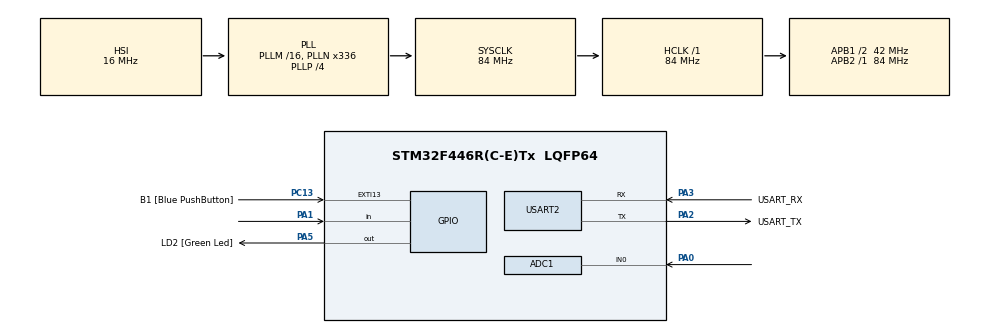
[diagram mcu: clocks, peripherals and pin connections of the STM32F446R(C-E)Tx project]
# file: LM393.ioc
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ADC1.Channel-0\#ChannelRegularConversion=ADC_CHANNEL_0
ADC1.NbrOfConversionFlag=1
ADC1.Rank-0\#ChannelRegularConversion=1
ADC1.SamplingTime-0\#ChannelRegularConversion=ADC_SAMPLETIME_3CYCLES
ADC1.master=1
Mcu.Family=STM32F4
Mcu.Name=STM32F446R(C-E)Tx
Mcu.Package=LQFP64
NVIC.PriorityGroup=NVIC_PRIORITYGROUP_0
PA0-WKUP.Signal=ADCx_IN0
PA1.Signal=GPIO_Input
PA13.GPIO_Label=TMS
PA13.Mode=Serial_Wire
PA13.Signal=SYS_JTMS-SWDIO
PA14.GPIO_Label=TCK
PA14.Mode=Serial_Wire
PA14.Signal=SYS_JTCK-SWCLK
PA2.GPIO_Label=USART_TX
PA2.Mode=Asynchronous
PA2.Signal=USART2_TX
PA3.GPIO_Label=USART_RX
PA3.Mode=Asynchronous
PA3.Signal=USART2_RX
PA5.GPIO_Label=LD2 [Green Led]
PA5.Signal=GPIO_Output
PB3.GPIO_Label=SWO
PB3.Signal=SYS_JTDO-SWO
PC13.GPIO_Label=B1 [Blue PushButton]
PC13.GPIO_ModeDefaultEXTI=GPIO_MODE_IT_FALLING
PC13.Signal=GPXTI13
PC14-OSC32_IN.Mode=LSE-External-Oscillator
PC14-OSC32_IN.Signal=RCC_OSC32_IN
PC15-OSC32_OUT.Mode=LSE-External-Oscillator
PC15-OSC32_OUT.Signal=RCC_OSC32_OUT
PH0-OSC_IN.Mode=HSE-External-Oscillator
PH0-OSC_IN.Signal=RCC_OSC_IN
PH1-OSC_OUT.Mode=HSE-External-Oscillator
PH1-OSC_OUT.Signal=RCC_OSC_OUT
ProjectManager.HeapSize=0x200
ProjectManager.StackSize=0x400
ProjectManager.TargetToolchain=STM32CubeIDE
RCC.48MHZClocksFreq_Value=84000000
RCC.AHBFreq_Value=84000000
RCC.APB1CLKDivider=RCC_HCLK_DIV2
RCC.APB1Freq_Value=42000000
RCC.APB1TimFreq_Value=84000000
RCC.APB2Freq_Value=84000000
RCC.APB2TimFreq_Value=84000000
RCC.CortexFreq_Value=84000000
RCC.FLatency-AdvancedSettings=FLASH_LATENCY_2
RCC.HCLKFreq_Value=84000000
RCC.HSE_VALUE=8000000
RCC.HSI_VALUE=16000000
RCC.PLLN=336
RCC.PLLP=RCC_PLLP_DIV4
RCC.SYSCLKFreq_VALUE=84000000
RCC.SYSCLKSource=RCC_SYSCLKSOURCE_PLLCLK
RCC.USBFreq_Value=168000000
RCC.VCOOutputFreq_Value=336000000
SH.ADCx_IN0.0=ADC1_IN0,IN0
USART2.VirtualMode=VM_ASYNC
board=NUCLEO-F446RE

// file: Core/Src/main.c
/* USER CODE BEGIN Header */
/**
| LM393 Pin | STM32 Pin        | Function                           |
| --------- | ---------------- | ---------------------------------- |
| VCC       | 5V / 3.3V        | Power                              |
| GND       | GND              | Ground                             |
| AO        | PA0 (ADC1\_IN0)  | Analog voltage from sensor         |
| DO        | PA1 (GPIO input) | Digital HIGH/LOW comparator output |

  ******************************************************************************
  * @file           : main.c
  * @brief          : Main program body
  ******************************************************************************
  * @attention
  *
  * Copyright (c) 2025 STMicroelectronics.
  * All rights reserved.
  *
  * This software is licensed under terms that can be found in the LICENSE file
  * in the root directory of this software component.
  * If no LICENSE file comes with this software, it is provided AS-IS.
  *
  ******************************************************************************
  */
/* USER CODE END Header */
#include "main.h"

/* USER CODE BEGIN Includes */
#include <stdio.h>
/* USER CODE END Includes */

/* USER CODE BEGIN PM */
uint32_t adc_value = 0;
/* USER CODE END PM */

ADC_HandleTypeDef hadc1;

UART_HandleTypeDef huart2;

void SystemClock_Config(void);
static void MX_GPIO_Init(void);
static void MX_USART2_UART_Init(void);
static void MX_ADC1_Init(void);

int main(void)
{

  /* MCU Configuration--------------------------------------------------------*/

  /* Reset of all peripherals, Initializes the Flash interface and the Systick. */
  HAL_Init();

  /* Configure the system clock */
  SystemClock_Config();

  /* Initialize all configured peripherals */
  MX_GPIO_Init();
  MX_USART2_UART_Init();
  MX_ADC1_Init();
  /* USER CODE BEGIN 2 */
  printf("LM393 Sensor System Started\r\n");
  /* USER CODE END 2 */

  /* Infinite loop */
  /* USER CODE BEGIN WHILE */
  while (1)
  {
	  /* ---- Digital DO pin check ---- */
	      GPIO_PinState do_state = HAL_GPIO_ReadPin(GPIOA, GPIO_PIN_1);
	      if (do_state == GPIO_PIN_RESET) {
	          printf("DO: Signal Detected!\r\n");
	      } else {
	          printf("DO: No Signal\r\n");
	      }

	      /* ---- Analog AO read ---- */
	      HAL_ADC_Start(&hadc1);
	      if (HAL_ADC_PollForConversion(&hadc1, HAL_MAX_DELAY) == HAL_OK) {
	          adc_value = HAL_ADC_GetValue(&hadc1);

	          if (adc_value < 1000) {
	              printf("AO: Very Low Signal (ADC=%lu)\r\n", adc_value);
	          } else if (adc_value < 3000) {
	              printf("AO: Medium Signal (ADC=%lu)\r\n", adc_value);
	          } else {
	              printf("AO: Strong Signal (ADC=%lu)\r\n", adc_value);
	          }
	      }
	      HAL_ADC_Stop(&hadc1);

	      HAL_Delay(1000);
    /* USER CODE END WHILE */

  }
}

void SystemClock_Config(void)
{
  RCC_OscInitTypeDef RCC_OscInitStruct = {0};
  RCC_ClkInitTypeDef RCC_ClkInitStruct = {0};

  /** Configure the main internal regulator output voltage
  */
  __HAL_RCC_PWR_CLK_ENABLE();
  __HAL_PWR_VOLTAGESCALING_CONFIG(PWR_REGULATOR_VOLTAGE_SCALE3);

  /** Initializes the RCC Oscillators according to the specified parameters
  * in the RCC_OscInitTypeDef structure.
  */
  RCC_OscInitStruct.OscillatorType = RCC_OSCILLATORTYPE_HSI;
  RCC_OscInitStruct.HSIState = RCC_HSI_ON;
  RCC_OscInitStruct.HSICalibrationValue = RCC_HSICALIBRATION_DEFAULT;
  RCC_OscInitStruct.PLL.PLLState = RCC_PLL_ON;
  RCC_OscInitStruct.PLL.PLLSource = RCC_PLLSOURCE_HSI;
  RCC_OscInitStruct.PLL.PLLM = 16;
  RCC_OscInitStruct.PLL.PLLN = 336;
  RCC_OscInitStruct.PLL.PLLP = RCC_PLLP_DIV4;
  RCC_OscInitStruct.PLL.PLLQ = 2;
  RCC_OscInitStruct.PLL.PLLR = 2;
  if (HAL_RCC_OscConfig(&RCC_OscInitStruct) != HAL_OK)
  {
    Error_Handler();
  }

  /** Initializes the CPU, AHB and APB buses clocks
  */
  RCC_ClkInitStruct.ClockType = RCC_CLOCKTYPE_HCLK|RCC_CLOCKTYPE_SYSCLK
                              |RCC_CLOCKTYPE_PCLK1|RCC_CLOCKTYPE_PCLK2;
  RCC_ClkInitStruct.SYSCLKSource = RCC_SYSCLKSOURCE_PLLCLK;
  RCC_ClkInitStruct.AHBCLKDivider = RCC_SYSCLK_DIV1;
  RCC_ClkInitStruct.APB1CLKDivider = RCC_HCLK_DIV2;
  RCC_ClkInitStruct.APB2CLKDivider = RCC_HCLK_DIV1;

  if (HAL_RCC_ClockConfig(&RCC_ClkInitStruct, FLASH_LATENCY_2) != HAL_OK)
  {
    Error_Handler();
  }
}

static void MX_ADC1_Init(void)
{

  ADC_ChannelConfTypeDef sConfig = {0};

  /** Configure the global features of the ADC (Clock, Resolution, Data Alignment and number of conversion)
  */
  hadc1.Instance = ADC1;
  hadc1.Init.ClockPrescaler = ADC_CLOCK_SYNC_PCLK_DIV4;
  hadc1.Init.Resolution = ADC_RESOLUTION_12B;
  hadc1.Init.ScanConvMode = DISABLE;
  hadc1.Init.ContinuousConvMode = DISABLE;
  hadc1.Init.DiscontinuousConvMode = DISABLE;
  hadc1.Init.ExternalTrigConvEdge = ADC_EXTERNALTRIGCONVEDGE_NONE;
  hadc1.Init.ExternalTrigConv = ADC_SOFTWARE_START;
  hadc1.Init.DataAlign = ADC_DATAALIGN_RIGHT;
  hadc1.Init.NbrOfConversion = 1;
  hadc1.Init.DMAContinuousRequests = DISABLE;
  hadc1.Init.EOCSelection = ADC_EOC_SINGLE_CONV;
  if (HAL_ADC_Init(&hadc1) != HAL_OK)
  {
    Error_Handler();
  }

  /** Configure for the selected ADC regular channel its corresponding rank in the sequencer and its sample time.
  */
  sConfig.Channel = ADC_CHANNEL_0;
  sConfig.Rank = 1;
  sConfig.SamplingTime = ADC_SAMPLETIME_3CYCLES;
  if (HAL_ADC_ConfigChannel(&hadc1, &sConfig) != HAL_OK)
  {
    Error_Handler();
  }

}

static void MX_USART2_UART_Init(void)
{

  huart2.Instance = USART2;
  huart2.Init.BaudRate = 115200;
  huart2.Init.WordLength = UART_WORDLENGTH_8B;
  huart2.Init.StopBits = UART_STOPBITS_1;
  huart2.Init.Parity = UART_PARITY_NONE;
  huart2.Init.Mode = UART_MODE_TX_RX;
  huart2.Init.HwFlowCtl = UART_HWCONTROL_NONE;
  huart2.Init.OverSampling = UART_OVERSAMPLING_16;
  if (HAL_UART_Init(&huart2) != HAL_OK)
  {
    Error_Handler();
  }

}

static void MX_GPIO_Init(void)
{
  GPIO_InitTypeDef GPIO_InitStruct = {0};

  /* GPIO Ports Clock Enable */
  __HAL_RCC_GPIOC_CLK_ENABLE();
  __HAL_RCC_GPIOH_CLK_ENABLE();
  __HAL_RCC_GPIOA_CLK_ENABLE();
  __HAL_RCC_GPIOB_CLK_ENABLE();

  /*Configure GPIO pin Output Level */
  HAL_GPIO_WritePin(LD2_GPIO_Port, LD2_Pin, GPIO_PIN_RESET);

  /*Configure GPIO pin : B1_Pin */
  GPIO_InitStruct.Pin = B1_Pin;
  GPIO_InitStruct.Mode = GPIO_MODE_IT_FALLING;
  GPIO_InitStruct.Pull = GPIO_NOPULL;
  HAL_GPIO_Init(B1_GPIO_Port, &GPIO_InitStruct);

  /*Configure GPIO pin : PA1 */
  GPIO_InitStruct.Pin = GPIO_PIN_1;
  GPIO_InitStruct.Mode = GPIO_MODE_INPUT;
  GPIO_InitStruct.Pull = GPIO_NOPULL;
  HAL_GPIO_Init(GPIOA, &GPIO_InitStruct);

  /*Configure GPIO pin : LD2_Pin */
  GPIO_InitStruct.Pin = LD2_Pin;
  GPIO_InitStruct.Mode = GPIO_MODE_OUTPUT_PP;
  GPIO_InitStruct.Pull = GPIO_NOPULL;
  GPIO_InitStruct.Speed = GPIO_SPEED_FREQ_LOW;
  HAL_GPIO_Init(LD2_GPIO_Port, &GPIO_InitStruct);

}

/* USER CODE BEGIN 4 */
int _write(int file, char *ptr, int len)
{
(void)file;
int DataIdx;

for (DataIdx = 0; DataIdx < len; DataIdx++)
{
  ITM_SendChar(*ptr++);
}
return len;
}
/* USER CODE END 4 */

void Error_Handler(void)
{
  __disable_irq();
  while (1)
  {
  }
}
